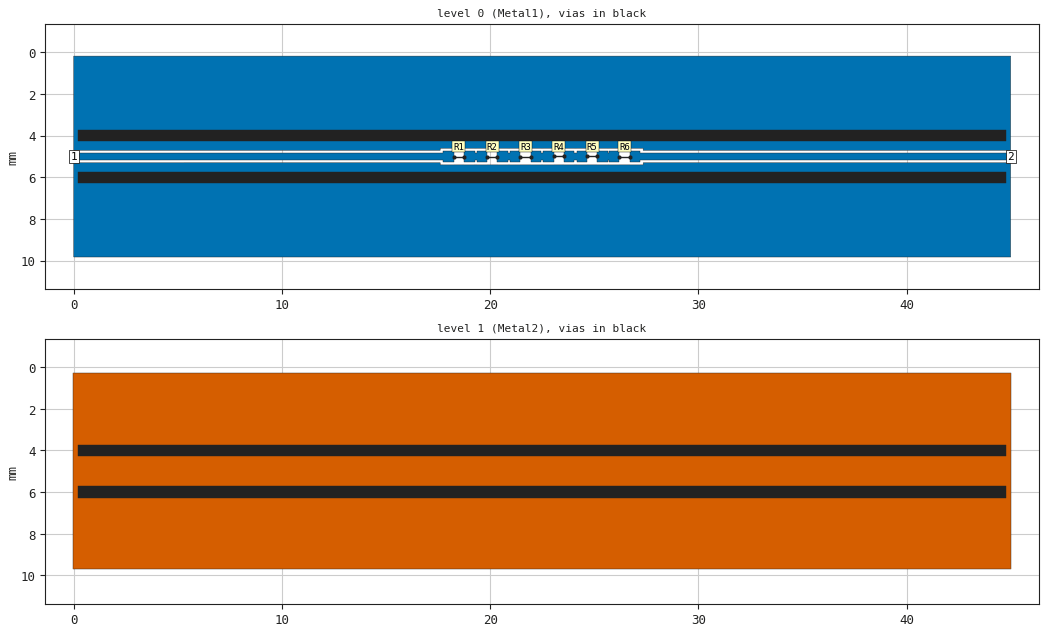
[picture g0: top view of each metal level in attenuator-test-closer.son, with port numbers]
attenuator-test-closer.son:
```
FTYP SONPROJ 17 ! Sonnet Project File
VER 17.52.2
HEADER
LIC antikernel2.2.49648 90e2ba8817c0 havequick azonenberg
DAT 08/15/2020 16:56:44
BUILT_BY_CREATED xgeom 16.56 07/03/2018 15:05:41
BUILT_BY_SAVED sonnet 17.52.2
MDATE 08/15/2020 16:56:44
HDATE 08/15/2020 16:56:44
END HEADER
DIM
ANG DEG
CAP PF
CON /OH
FREQ GHZ
IND NH
LNG MM
RES OH
END DIM
CONTROL
VARSWP
OPTIONS  -dj
SPEED 1
CACHE_ABS 1
Q_ACC N
END CONTROL
GEO
TMET "Free Space" 0 FREESPACE 376.7303136 0 0 0
BMET "Free Space" 0 FREESPACE 376.7303136 0 0 0
MET "Silver" 1 TMM 61700000 0.5 0.035 2
BRI "Alumina (96%)" 0 9.4 0.0004 0 
BRI "Alumina (99.5%)" 0 9.9 0.0001 0 
BRI "Aluminum Nitride" 0 8.6 0.0003 0 
BRI "Arlon 25FR" 0 3.58 0.0035 0 
BRI "Arlon 25N" 0 3.38 0.0025 0 
BRI "Arlon AD5" 0 5.1 0.003 0 
BRI "Arlon AD10" 0 10.2 0.005 0 
BRI "Arlon AD250" 0 2.5 0.0018 0 
BRI "Arlon AD255A" 0 2.55 0.0015 0 
BRI "Arlon AD260A" 0 2.6 0.0018 0 
BRI "Arlon AD270" 0 2.7 0.0023 0 
BRI "Arlon AD300A" 0 3 0.002 0 
BRI "Arlon AD320A" 0 3.2 0.0032 0 
BRI "Arlon AD350A" 0 3.5 0.003 0 
BRI "Arlon AD410" 0 4.1 0.003 0 
BRI "Arlon AD430" 0 4.3 0.003 0 
BRI "Arlon AD450" 0 4.5 0.0035 0 
BRI "Arlon AD600" 0 6.15 0.003 0 
BRI "Arlon AD1000" 0 10.2 0.0023 0 
BRI "Arlon AR1000" 0 9.8 0.003 0 
BRI "Arlon CLTE" 0 2.96 0.0023 0 
BRI "Arlon CLTE-AT" 0 3 0.0013 0 
BRI "Arlon CLTE-P" 0 2.94 0.0025 0 
BRI "Arlon CLTE-XT" 0 2.94 0.0012 0 
BRI "Arlon Cu 217LX" 0 2.17 0.0009 0 
BRI "Arlon Cu 233LX" 0 2.33 0.0013 0 
BRI "Arlon Cu 250GT" 0 2.5 0.001 0 
BRI "Arlon Cu 250GX" 0 2.5 0.0018 0 
BRI "Arlon Cu 6250" 0 2.32 0.0013 0 
BRI "Arlon Cu 6700" 0 2.35 0.0025 0 
BRI "Arlon Di 522" 0 2.5 0.001 0 
BRI "Arlon Di 527" 0 2.5 0.0018 0 
BRI "Arlon Di 870" 0 2.33 0.0013 0 
BRI "Arlon Di 880" 0 2.17 0.0009 0 
BRI "Arlon Iso 917" 0 2.17 0.0013 0 
BRI "Arlon Iso 933" 0 2.33 0.0016 0 
BRI "Arlon Multi HF" 0 3.7 0.004 0 
BRI "Arlon TC350" 0 3.5 0.002 0 
BRI "Arlon TC600" 0 6.15 0.002 0 
BRI "Beryllia (99.5%)" 0 6.5 0.0004 0 
BRI "CEM-1" 0 4.5 0.02 0 
BRI "CEM-3" 0 4.5 0.02 0 
BRI "Dupont 9K7" 0 7.1 0.0012 0 
BRI "Dupont 943" 0 7.4 0.002 0 
BRI "Dupont 951" 0 7.8 0.006 0 
BRI "Dupont FEP" 0 2 0.0005 0 
BRI "Dupont Vacrel" 0 3.8 0.011 0 
BRI "ESL 41010" 0 7.5 0.005 0 
BRI "ESL 41020" 0 7.25 0.005 0 
BRI "ESL 41050" 0 13.5 0.002 0 
BRI "ESL 41060" 0 16.5 0.002 0 
BRI "ESL 41110" 0 4.5 0.004 0 
BRI "Ferro A6M" 0 5.9 0.002 0 
BRI "Ferro A6S" 0 5.9 0.002 0 
BRI "Ferro L8" 0 7.3 0.0018 0 
BRI "FR-4" 0 4.4 0.02 0 
BRI "G-10" 0 4.8 0.025 0 
BRI "Gallium Arsenide" 0 12.9 0.006 0 
BRI "Gallium Nitride" 0 9.7 0 0 
BRI "Glass (Pyrex)" 0 4.82 0.0054 0 
BRI "Heraeus HL2000" 0 7.3 0.0026 0 
BRI "Isola 370HR" 0 4.04 0.021 0 
BRI "Isola FR408" 0 3.77 0.0116 0 
BRI "Isola FR408HR" 0 3.68 0.0092 0 
BRI "Isola Getek" 0 3.6 0.01 0 
BRI "Isola GI-180" 0 3.7 0.013 0 
BRI "Isola IS415" 0 3.82 0.0125 0 
BRI "Isola IS620i" 0 3.58 0.006 0 
BRI "Isola IS680-280" 0 2.8 0.0025 0 
BRI "Isola IS680-300" 0 3 0.003 0 
BRI "Isola IS680-320" 0 3.2 0.003 0 
BRI "Isola IS680-333" 0 3.33 0.003 0 
BRI "Isola IS680-338" 0 3.38 0.0032 0 
BRI "Isola IS680-345" 0 3.45 0.0036 0 
BRI "Kerafol CT800" 0 5.3 0.008 0 
BRI "Nelco MW9350" 0 3.7 0.004 0 
BRI "Nelco N4000-12" 0 3.7 0.008 0 
BRI "Nelco N4000-13" 0 3.7 0.009 0 
BRI "Nelco N4000-13SI" 0 3.2 0.007 0 
BRI "Nelco N4000-13EP" 0 3.7 0.008 0 
BRI "Nelco N4350-13RF" 0 3.5 0.0065 0 
BRI "Nelco N4380-13RF" 0 3.8 0.007 0 
BRI "Nelco N9300-13RF" 0 3 0.004 0 
BRI "Nelco N9320-13RF" 0 3.2 0.0045 0 
BRI "Nelco N9338-13RF" 0 3.38 0.0046 0 
BRI "Nelco N9350-13RF" 0 3.48 0.0055 0 
BRI "Nelco NH9294" 0 2.94 0.0022 0 
BRI "Nelco NH9300" 0 3 0.0023 0 
BRI "Nelco NH9320" 0 3.2 0.0024 0 
BRI "Nelco NH9338" 0 3.38 0.0025 0 
BRI "Nelco NH9348" 0 3.48 0.003 0 
BRI "Nelco NH9350" 0 3.5 0.003 0 
BRI "Nelco NH9410" 0 4.1 0.003 0 
BRI "Nelco NH9450" 0 4.5 0.003 0 
BRI "Nelco NX9240" 0 2.4 0.0016 0 
BRI "Nelco NX9245" 0 2.45 0.0016 0 
BRI "Nelco NX9250" 0 2.5 0.0017 0 
BRI "Nelco NX9255" 0 2.55 0.0018 0 
BRI "Nelco NX9260" 0 2.6 0.0019 0 
BRI "Nelco NY9208" 0 2.08 0.0006 0 
BRI "Nelco NY9217" 0 2.17 0.0008 0 
BRI "Nelco NY9220" 0 2.2 0.0009 0 
BRI "Nelco NY9233" 0 2.33 0.0011 0 
BRI "PET" 0 3.37 0.0208 0 
BRI "Polyimide" 0 3.5 0.003 0 
BRI "Quartz (Fused)" 0 3.78 0.0001 0 
BRI "Rogers 3001" 0 2.28 0.003 0 
BRI "Rogers RO2808" 0 7.6 0.0015 0 
BRI "Rogers RO3003" 0 3 0.0013 0 
BRI "Rogers RO3006" 0 6.5 0.002 0 
BRI "Rogers RO3010" 0 11.2 0.0022 0 
BRI "Rogers RO3035" 0 3.6 0.0018 0 
BRI "Rogers RO3203" 0 3.02 0.0016 0 
BRI "Rogers RO3206" 0 6.6 0.0027 0 
BRI "Rogers RO3210" 0 10.8 0.0027 0 
BRI "Rogers RO3730" 0 3 0.0016 0 
BRI "Rogers RO4003C" 0 3.55 0.0029 0 
BRI "Rogers RO4533" 0 3.45 0.0029 0 
BRI "Rogers RO4534" 0 3.4 0.003 0 
BRI "Rogers RO4350B" 0 3.66 0.0037 0 
BRI "Rogers RO4350BTX" 0 3.66 0.0034 0 
BRI "Rogers RO4360" 0 6.15 0.0038 0 
BRI "Rogers RO4450B-3.6" 0 3.3 0.0043 0 
BRI "Rogers RO4450B-4" 0 3.54 0.004 0 
BRI "Rogers RO4450F" 0 3.52 0.0041 0 
BRI "Rogers RO4730" 0 3 0.0033 0 
BRI "Rogers RT5870" 0 2.33 0.0012 0 
BRI "Rogers RT5880" 0 2.2 0.0009 0 
BRI "Rogers RT5880LZ" 0 1.96 0.0019 0 
BRI "Rogers RT6002" 0 2.94 0.0012 0 
BRI "Rogers RT6006" 0 6.15 0.0027 0 
BRI "Rogers RT6010LM" 0 10.9 0.0023 0 
BRI "Rogers RT6035HTC" 0 3.6 0.0013 0 
BRI "Rogers RT6202" 0 2.94 0.0015 0 
BRI "Rogers RT6202PR" 0 2.95 0.0015 0 
BRI "Rogers Syron7000" 0 3.4 0.0045 0 
BRI "Rogers Syron7100-2" 0 3.61 0.006 0 
BRI "Rogers Syron7100-4" 0 3.39 0.005 0 
BRI "Rogers Theta" 0 4.01 0.0118 0 
BRI "Rogers TMM 3" 0 3.39 0.002 0 
BRI "Rogers TMM 4" 0 4.5 0.002 0 
BRI "Rogers TMM 6" 0 6 0.0023 0 
BRI "Rogers TMM 10" 0 9.56 0.0022 0 
BRI "Rogers TMM 10i" 0 9.96 0.002 0 
BRI "Rogers UL2000" 0 2.5 0.0019 0 
BRI "Rogers UL3850" 0 3.05 0.0025 0 
BRI "Rogers UL3908" 0 2.9 0.0025 0 
BRI "Rogers XT8000" 0 3.34 0.0035 0 
BRI "Rogers XT8100-2" 0 3.54 0.0049 0 
BRI "Rogers XT8100-4" 0 3.32 0.0038 0 
BRI "Silicon (intrinsic)" 0 11.9 0.004 0.00044 
BRI "Silicon Dioxide" 0 3.9 0 0 
BRI "Silicon Nitride" 0 7.5 0 0 
BRI "Taconic CER-10" 0 10 0.0035 0 
BRI "Taconic FastFilm" 0 2.7 0.0012 0 
BRI "Taconic Fastrise-DS" 0 2.96 0.0018 0 
BRI "Taconic Fastrise27" 0 2.7 0.0014 0 
BRI "Taconic Fastrise77" 0 7.7 0.0034 0 
BRI "Taconic FEP" 0 2 0.0003 0 
BRI "Taconic RF-30" 0 3 0.0014 0 
BRI "Taconic RF-35" 0 3.5 0.0018 0 
BRI "Taconic RF-35A2" 0 3.5 0.0011 0 
BRI "Taconic RF-35P" 0 3.5 0.0025 0 
BRI "Taconic RF-41" 0 4.1 0.0038 0 
BRI "Taconic RF-43" 0 4.3 0.0033 0 
BRI "Taconic RF-45" 0 4.5 0.0037 0 
BRI "Taconic RF-60A" 0 6.15 0.0038 0 
BRI "Taconic RF-301" 0 2.97 0.0012 0 
BRI "Taconic TacBond HT" 0 2.35 0.0025 0 
BRI "Taconic TLA-6" 0 2.62 0.0012 0 
BRI "Taconic TLC-27" 0 2.75 0.003 0 
BRI "Taconic TLC-30" 0 3 0.003 0 
BRI "Taconic TLC-32" 0 3.2 0.003 0 
BRI "Taconic TLE-95" 0 2.95 0.0028 0 
BRI "Taconic TLF-34" 0 3.4 0.002 0 
BRI "Taconic TLF-35" 0 3.5 0.002 0 
BRI "Taconic TLP-3" 0 2.33 0.0009 0 
BRI "Taconic TLP-5" 0 2.2 0.0009 0 
BRI "Taconic TLP-5A" 0 2.17 0.0009 0 
BRI "Taconic TLT-0" 0 2.45 0.0006 0 
BRI "Taconic TLT-9" 0 2.5 0.0006 0 
BRI "Taconic TLT-8" 0 2.55 0.0006 0 
BRI "Taconic TLT-7" 0 2.6 0.0006 0 
BRI "Taconic TLT-6" 0 2.65 0.0006 0 
BRI "Taconic TLX-0" 0 2.45 0.0019 0 
BRI "Taconic TLX-9" 0 2.5 0.0019 0 
BRI "Taconic TLX-8" 0 2.55 0.0019 0 
BRI "Taconic TLX-7" 0 2.6 0.0019 0 
BRI "Taconic TLX-6" 0 2.65 0.0019 0 
BRI "Taconic TLY-3" 0 2.33 0.0009 0 
BRI "Taconic TLY-3F" 0 2.33 0.0009 0 
BRI "Taconic TLY-5" 0 2.2 0.0009 0 
BRI "Taconic TLY-5-L" 0 2.2 0.0009 0 
BRI "Taconic TLY-5A" 0 2.17 0.0009 0 
BRI "Taconic TLY-5A-L" 0 2.17 0.0009 0 
BRI "Taconic TPG-30" 0 3 0.0038 0 
BRI "Taconic TPG-32" 0 3.2 0.005 0 
BRI "Taconic TPG-35" 0 3.5 0.005 0 
BRI "Taconic TRF-41" 0 4.1 0.0035 0 
BRI "Taconic TRF-43" 0 4.3 0.0035 0 
BRI "Taconic TRF-45" 0 4.5 0.0035 0 
BRI "Taconic TSM-DS" 0 2.85 0.001 0 
BRI "Taconic TSM-DS3" 0 3 0.0011 0 
BRI "Taconic TSM-26" 0 2.6 0.0014 0 
BRI "Taconic TSM-29" 0 2.94 0.0013 0 
BRI "Taconic TSM-30" 0 3 0.0013 0 
BRI "Teflon (PTFE)" 0 2.08 0.0004 0 
BOX 2 45 10 3600 800 20 0
      1 1 1 0 0 0 0 "Air"
      0.16 3.68 1 0.0092 0 0 0 "Isola FR408HR"
      1 1 1 0 0 0 0 "Substrate"
TECHLAY METAL Metal1 <UNSPECIFIED> -2 0 
0 0 0 N 0 1 1 100 100 0 0 0 Y
END
END
TECHLAY VIA Via1 <UNSPECIFIED> -4 0 
VIA POLYGON
1 0 -1 N 0 1 1 100 100 0 0 0 Y
TOLEVEL 0 RING NOCOVERS
END
END
TECHLAY METAL Metal2 <UNSPECIFIED> -3 0 
1 0 -1 N 0 1 1 100 100 0 0 0 Y
END
END
LORGN 0 10 U 
POR1 BOX
POLY 242 1
3
1 50 0 0 0 0 5 
POR1 BOX
POLY 244 1
1
2 50 0 0 0 45 5 
SMD 0 "R1"
ID 219
GNDREF AUTO
SBOX 18.375 18.625 4.875 5.125
PBSHW N
LPOS 18.5 4.875
TYPE SPARAM 1
SMDP 0 18.25 5 L 3 1 
EXSMDP
GNDREF AUTO
TERMW FEED
END EXSMDP
SMDP 0 18.75 5 R 4 2 
EXSMDP
GNDREF AUTO
TERMW FEED
END EXSMDP
END
SMD 0 "R2"
ID 222
GNDREF AUTO
SBOX 19.975 20.225 4.875 5.125
PBSHW N
LPOS 20.1 4.875
TYPE SPARAM 2
SMDP 0 19.85 5 L 5 1 
EXSMDP
GNDREF AUTO
TERMW FEED
END EXSMDP
SMDP 0 20.35 5 R 6 2 
EXSMDP
GNDREF AUTO
TERMW FEED
END EXSMDP
END
SMD 0 "R3"
ID 225
GNDREF AUTO
SBOX 21.575 21.825 4.875 5.125
PBSHW N
LPOS 21.7 4.875
TYPE SPARAM 2
SMDP 0 21.45 5 L 7 1 
EXSMDP
GNDREF AUTO
TERMW FEED
END EXSMDP
SMDP 0 21.95 5 R 8 2 
EXSMDP
GNDREF AUTO
TERMW FEED
END EXSMDP
END
SMD 0 "R4"
ID 228
GNDREF AUTO
SBOX 23.175 23.425 4.85 5.1
PBSHW N
LPOS 23.3 4.85
TYPE SPARAM 2
SMDP 0 23.05 4.975 L 9 1 
EXSMDP
GNDREF AUTO
TERMW FEED
END EXSMDP
SMDP 0 23.55 4.975 R 10 2 
EXSMDP
GNDREF AUTO
TERMW FEED
END EXSMDP
END
SMD 0 "R5"
ID 231
GNDREF AUTO
SBOX 24.775 25.025 4.85 5.1
PBSHW N
LPOS 24.9 4.85
TYPE SPARAM 2
SMDP 0 24.65 4.975 L 11 1 
EXSMDP
GNDREF AUTO
TERMW FEED
END EXSMDP
SMDP 0 25.15 4.975 R 12 2 
EXSMDP
GNDREF AUTO
TERMW FEED
END EXSMDP
END
SMD 0 "R6"
ID 234
GNDREF AUTO
SBOX 26.325 26.575 4.875 5.125
PBSHW N
LPOS 26.45 4.875
TYPE SPARAM 3
SMDP 0 26.2 5 L 13 1 
EXSMDP
GNDREF AUTO
TERMW FEED
END EXSMDP
SMDP 0 26.7 5 R 14 2 
EXSMDP
GNDREF AUTO
TERMW FEED
END EXSMDP
END
NUM 12
0 125 0 N 217 1 1 100 100 0 0 0 Y
TLAYNAM Metal1 INH
45 5.301
39.703 5.301
39.693 5.3
28.459 5.3
28.459 5.3
27.35 5.3
27.35 5.4
27.207 5.4
27.201 5.4006
27.201 5.4006
27.201 5.4006
27.197 5.401
26.703 5.401
26.699 5.4006
26.699 5.4006
26.693 5.4
26.207 5.4
26.201 5.4006
26.201 5.4006
26.201 5.4006
26.197 5.401
25.703 5.401
25.699 5.4006
25.699 5.4006
25.693 5.4
25.657 5.4
25.651 5.4006
25.651 5.4006
25.651 5.4006
25.647 5.401
25.153 5.401
25.149 5.4006
25.149 5.4006
25.143 5.4
24.657 5.4
24.651 5.4006
24.651 5.4006
24.651 5.4006
24.647 5.401
24.153 5.401
24.149 5.4006
24.149 5.4006
24.143 5.4
24.057 5.4
24.051 5.4006
24.051 5.4006
24.051 5.4006
24.047 5.401
23.553 5.401
23.549 5.4006
23.549 5.4006
23.543 5.4
23.057 5.4
23.051 5.4006
23.051 5.4006
23.051 5.4006
23.047 5.401
22.553 5.401
22.549 5.4006
22.549 5.4006
22.543 5.4
22.457 5.4
22.451 5.4006
22.451 5.4006
22.451 5.4006
22.447 5.401
21.953 5.401
21.949 5.4006
21.949 5.4006
21.943 5.4
21.457 5.4
21.451 5.4006
21.451 5.4006
21.451 5.4006
21.447 5.401
20.953 5.401
20.949 5.4006
20.949 5.4006
20.943 5.4
20.857 5.4
20.851 5.4006
20.851 5.4006
20.851 5.4006
20.847 5.401
20.353 5.401
20.349 5.4006
20.349 5.4006
20.343 5.4
19.857 5.4
19.851 5.4006
19.851 5.4006
19.851 5.4006
19.847 5.401
19.353 5.401
19.349 5.4006
19.349 5.4006
19.343 5.4
19.257 5.4
19.251 5.4006
19.251 5.4006
19.251 5.4006
19.247 5.401
18.753 5.401
18.749 5.4006
18.749 5.4006
18.743 5.4
18.257 5.4
18.251 5.4006
18.251 5.4006
18.251 5.4006
18.247 5.401
17.753 5.401
17.749 5.4006
17.749 5.4006
17.743 5.4
17.6 5.4
17.6 5.3
5.307 5.3
5.301 5.3006
5.301 5.3006
5.297 5.301
0 5.301
0 9.825
45 9.825
45 5.301
END
0 125 0 N 218 1 1 100 100 0 0 0 Y
TLAYNAM Metal1 INH
USER_DAT FromImport
39.703 4.699
45 4.699
45 0.175
0 0.175
0 4.699
5.297 4.699
5.301 4.6994
5.301 4.6994
5.307 4.7
16.541 4.7
16.541 4.7
17.6 4.7
17.6 4.6
17.743 4.6
17.749 4.5994
17.749 4.5994
17.753 4.599
18.247 4.599
18.251 4.5994
18.251 4.5994
18.251 4.5994
18.257 4.6
18.743 4.6
18.749 4.5994
18.749 4.5994
18.753 4.599
19.247 4.599
19.251 4.5994
19.251 4.5994
19.251 4.5994
19.257 4.6
19.343 4.6
19.349 4.5994
19.349 4.5994
19.353 4.599
19.847 4.599
19.851 4.5994
19.851 4.5994
19.851 4.5994
19.857 4.6
20.343 4.6
20.349 4.5994
20.349 4.5994
20.353 4.599
20.847 4.599
20.851 4.5994
20.851 4.5994
20.851 4.5994
20.857 4.6
20.943 4.6
20.949 4.5994
20.949 4.5994
20.953 4.599
21.447 4.599
21.451 4.5994
21.451 4.5994
21.451 4.5994
21.457 4.6
21.943 4.6
21.949 4.5994
21.949 4.5994
21.953 4.599
22.447 4.599
22.451 4.5994
22.451 4.5994
22.451 4.5994
22.457 4.6
22.543 4.6
22.549 4.5994
22.549 4.5994
22.553 4.599
23.047 4.599
23.051 4.5994
23.051 4.5994
23.051 4.5994
23.057 4.6
23.543 4.6
23.549 4.5994
23.549 4.5994
23.553 4.599
24.047 4.599
24.051 4.5994
24.051 4.5994
24.051 4.5994
24.057 4.6
24.143 4.6
24.149 4.5994
24.149 4.5994
24.153 4.599
24.647 4.599
24.651 4.5994
24.651 4.5994
24.651 4.5994
24.657 4.6
25.143 4.6
25.149 4.5994
25.149 4.5994
25.153 4.599
25.647 4.599
25.651 4.5994
25.651 4.5994
25.651 4.5994
25.657 4.6
25.693 4.6
25.699 4.5994
25.699 4.5994
25.703 4.599
26.197 4.599
26.201 4.5994
26.201 4.5994
26.201 4.5994
26.207 4.6
26.693 4.6
26.699 4.5994
26.699 4.5994
26.703 4.599
27.197 4.599
27.201 4.5994
27.201 4.5994
27.201 4.5994
27.207 4.6
27.35 4.6
27.35 4.7
39.693 4.7
39.703 4.699
END
0 13 0 N 237 1 1 100 100 0 0 0 Y
USER_DAT FromImport
26.2 4.75
25.7 4.75
25.7 4.85
25.65 4.85
25.65 4.75
25.15 4.75
25.15 5.25
25.65 5.25
25.65 5.15
25.7 5.15
25.7 5.25
26.2 5.25
26.2 4.75
END
0 13 0 N 238 1 1 100 100 0 0 0 Y
USER_DAT FromImport
23.05 4.75
22.55 4.75
22.55 4.85
22.45 4.85
22.45 4.75
21.95 4.75
21.95 5.25
22.45 5.25
22.45 5.15
22.55 5.15
22.55 5.25
23.05 5.25
23.05 4.75
END
0 13 0 N 239 1 1 100 100 0 0 0 Y
USER_DAT FromImport
24.65 4.75
24.15 4.75
24.15 4.85
24.05 4.85
24.05 4.75
23.55 4.75
23.55 5.25
24.05 5.25
24.05 5.15
24.15 5.15
24.15 5.25
24.65 5.25
24.65 4.75
END
0 13 0 N 240 1 1 100 100 0 0 0 Y
USER_DAT FromImport
19.85 4.75
19.35 4.75
19.35 4.85
19.25 4.85
19.25 4.75
18.75 4.75
18.75 5.25
19.25 5.25
19.25 5.15
19.35 5.15
19.35 5.25
19.85 5.25
19.85 4.75
END
0 13 0 N 241 1 1 100 100 0 0 0 Y
USER_DAT FromImport
21.45 4.75
20.95 4.75
20.95 4.85
20.85 4.85
20.85 4.75
20.35 4.75
20.35 5.25
20.85 5.25
20.85 5.15
20.95 5.15
20.95 5.25
21.45 5.25
21.45 4.75
END
0 9 0 N 242 1 1 100 100 0 0 0 Y
USER_DAT FromImport
18.25 4.75
17.75 4.75
17.75 4.85
0 4.85
0 5.15
17.75 5.15
17.75 5.25
18.25 5.25
18.25 4.75
END
0 9 0 N 244 1 1 100 100 0 0 0 Y
USER_DAT FromImport
27.2 5.15
45 5.15
45 4.85
27.2 4.85
27.2 4.75
26.7 4.75
26.7 5.25
27.2 5.25
27.2 5.15
END
VIA POLYGON
1 5 -1 N 247 1 1 100 100 0 0 0 Y
TOLEVEL 0 RING NOCOVERS
TLAYNAM Via1 INH
0.2 5.725
44.772 5.725
44.772 6.2747
0.2 6.2747
0.2 5.725
END
VIA POLYGON
1 5 -1 N 248 1 1 100 100 0 0 0 Y
TOLEVEL 0 RING NOCOVERS
TLAYNAM Via1 INH
0.225 3.725
44.797 3.725
44.797 4.2747
0.225 4.2747
0.225 3.725
END
1 5 -1 N 250 1 1 100 100 0 0 0 Y
TLAYNAM Metal2 INH
USER_DAT FromImport
-0.013 9.7125
-0.013 0.2875
45 0.2875
45 9.7125
-0.013 9.7125
END
END GEO
OPT
MAX 100
END OPT
VARSWP
ENABLED Y
FREQ Y AY ABS_ENTRY 0.1 6.0 -1 300 
END
END VARSWP
FILEOUT
FOLDER .
END FILEOUT
SMDFILES
2 "../../../../../../share/datasheets/Vishay/0402/FC0402-FlipChip-75 Ohm.s2p"
3 "../../../../../../share/datasheets/Vishay/0402/FC0402-FlipChip-50 Ohm.s2p"
1 "../../../../../../share/datasheets/Vishay/0402/FC0402-FlipChip-100 Ohm.s2p"
END SMDFILES
```
